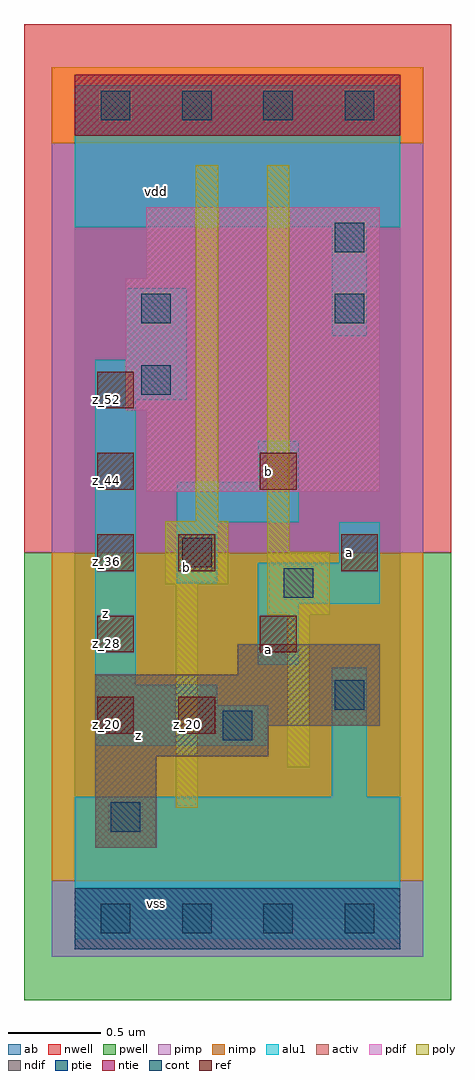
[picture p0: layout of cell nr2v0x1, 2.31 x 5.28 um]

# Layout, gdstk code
import gdstk
lib = gdstk.Library(unit=1e-6, precision=2.5e-09)
def R(c, l, rs):  # rectangles x0, y0, x1, y1
    for r in rs: c.add(gdstk.rectangle(r[:2], r[2:], *l))
def A(c, l, x, y, w, h, nx, ny, dx, dy):  # array of equal rectangles
    R(c, l, [(x+i*dx, y+j*dy, x+i*dx+w, y+j*dy+h) for i in range(nx) for j in range(ny)])
ndif = (3, 0)
pdif = (4, 0)
ntie = (5, 0)
ptie = (6, 0)
ref = (24, 0)
cont = (25, 0)
pwell = (41, 0)
nwell = (42, 0)
activ = (43, 0)
pimp = (44, 0)
nimp = (45, 0)
poly = (46, 0)
alu1 = (49, 0)
ab = (63, 0)

nr2v0x1 = lib.new_cell('nr2v0x1')
R(nr2v0x1, ndif, [(0.11,0.385,0.44,0.88), (0.11,0.88,1.045,1.045), (0.11,1.045,1.65,1.32), (0.88,1.32,1.65,1.485)])
R(nr2v0x1, pdif, [(0.385,2.31,1.65,2.75), (0.275,2.75,1.65,3.465), (0.385,3.465,1.65,3.85)])
R(nr2v0x1, ntie, [(0,4.235,1.76,4.565)])
R(nr2v0x1, ptie, [(0,-0.165,1.76,0.165)])
A(nr2v0x1, ref, 0.12, 1, 0.2, 0.2, 1, 5, 0, 0.44)
R(nr2v0x1, ref, [(0.56,1,0.76,1.2), (1,1.44,1.2,1.64), (0.56,1.88,0.76,2.08), (1.44,1.88,1.64,2.08), (1,2.32,1.2,2.52)])
A(nr2v0x1, cont, 0.14, -0.08, 0.16, 0.16, 4, 2, 0.44, 4.4)
R(nr2v0x1, cont, [(0.195,0.47,0.355,0.63), (0.8,0.965,0.96,1.125), (1.405,1.13,1.565,1.29), (1.13,1.735,1.29,1.895), (0.58,1.9,0.74,2.06), (0.36,2.835,0.52,2.995), (0.36,3.22,0.52,3.38), (1.405,3.22,1.565,3.38), (1.405,3.605,1.565,3.765)])
R(nr2v0x1, pwell, [(-0.275,-0.44,2.035,1.98)])
R(nr2v0x1, nwell, [(-0.275,1.98,2.035,4.84)])
R(nr2v0x1, activ, [(0,-0.165,1.76,0.165), (0.11,0.385,0.44,0.88), (0.11,0.88,1.045,1.045), (0.11,1.045,1.65,1.32), (0.88,1.32,1.65,1.485), (0.385,2.31,1.65,2.75), (0.275,2.75,1.65,3.465), (0.385,3.465,1.65,3.85), (0,4.235,1.76,4.565)])
R(nr2v0x1, pimp, [(-0.125,-0.205,1.885,0.205), (-0.125,1.98,1.885,4.195)])
R(nr2v0x1, nimp, [(-0.125,0.205,1.885,1.98), (-0.125,4.195,1.885,4.605)])
R(nr2v0x1, poly, [(0.545,0.6,0.665,1.81), (1.15,0.82,1.27,1.645), (1.04,1.645,1.38,1.985), (0.49,1.81,0.83,2.15), (1.04,1.985,1.16,4.075), (0.655,2.15,0.775,4.075)])
R(nr2v0x1, alu1, [(0,-0.11,1.76,0.66), (1.39,0.66,1.58,1.36), (0.11,0.935,1.045,1.155), (0.11,1.155,0.77,1.265), (0.11,1.265,0.33,2.805), (0.99,1.375,1.21,1.705), (0.99,1.705,1.65,1.925), (0.55,1.815,0.77,2.145), (1.43,1.925,1.65,2.145), (0.55,2.145,1.21,2.365), (0.99,2.365,1.21,2.585), (0.11,2.805,0.605,3.025), (0.275,3.025,0.605,3.41), (1.39,3.15,1.58,3.74), (0,3.74,1.76,4.51)])
R(nr2v0x1, ab, [(0,0,1.76,4.4)])
nr2v0x1.add(gdstk.Label('vss', (0.44,0.0825), layer=49, texttype=0))
nr2v0x1.add(gdstk.Label('z', (0.3425,0.99), layer=49, texttype=0))
nr2v0x1.add(gdstk.Label('a', (1.045,1.4575), layer=49, texttype=0))
nr2v0x1.add(gdstk.Label('a', (1.485,1.98), layer=49, texttype=0))
nr2v0x1.add(gdstk.Label('b', (0.605,1.8975), layer=49, texttype=0))
nr2v0x1.add(gdstk.Label('b', (1.045,2.42), layer=49, texttype=0))
nr2v0x1.add(gdstk.Label('z', (0.165,1.65), layer=49, texttype=0))
nr2v0x1.add(gdstk.Label('vdd', (0.44,3.9325), layer=49, texttype=0))
nr2v0x1.add(gdstk.Label('b_44', (1.05,2.37), layer=24, texttype=0))
nr2v0x1.add(gdstk.Label('a_28', (1.05,1.49), layer=24, texttype=0))
nr2v0x1.add(gdstk.Label('z_20', (0.17,1.05), layer=24, texttype=0))
nr2v0x1.add(gdstk.Label('z_52', (0.17,2.81), layer=24, texttype=0))
nr2v0x1.add(gdstk.Label('z_44', (0.17,2.37), layer=24, texttype=0))
nr2v0x1.add(gdstk.Label('z_36', (0.17,1.93), layer=24, texttype=0))
nr2v0x1.add(gdstk.Label('z_28', (0.17,1.49), layer=24, texttype=0))
nr2v0x1.add(gdstk.Label('a_36', (1.49,1.93), layer=24, texttype=0))
nr2v0x1.add(gdstk.Label('b_36', (0.61,1.93), layer=24, texttype=0))
nr2v0x1.add(gdstk.Label('z_20', (0.61,1.05), layer=24, texttype=0))

lib.write_gds('nr2v0x1.gds')
